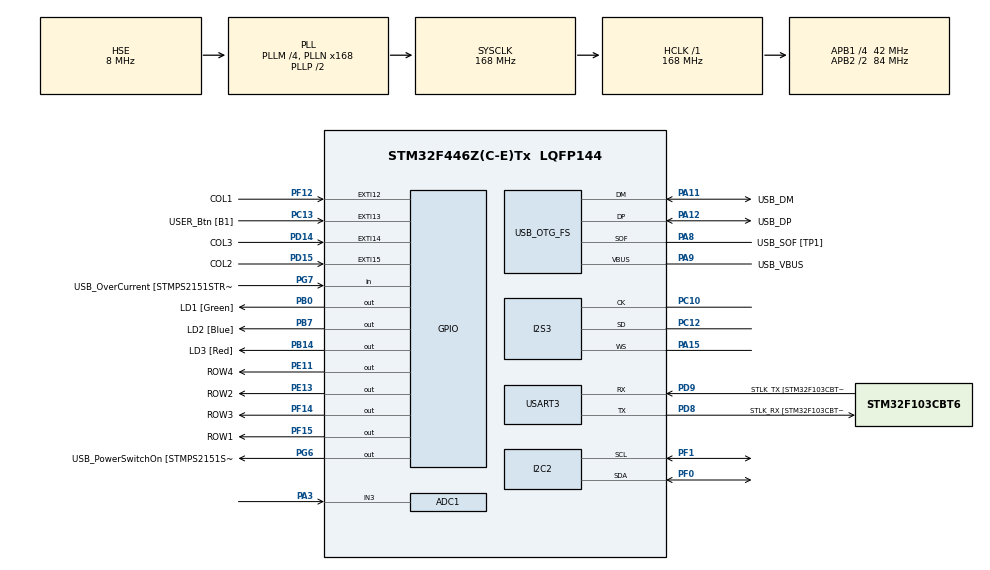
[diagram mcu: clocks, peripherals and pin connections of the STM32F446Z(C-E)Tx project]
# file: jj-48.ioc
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ADC1.Channel-4\#ChannelRegularConversion=ADC_CHANNEL_3
ADC1.NbrOfConversionFlag=1
ADC1.Rank-4\#ChannelRegularConversion=1
ADC1.SamplingTime-4\#ChannelRegularConversion=ADC_SAMPLETIME_3CYCLES
ADC1.master=1
Dma.Request0=SPI3_TX
Dma.SPI3_TX.0.Direction=DMA_MEMORY_TO_PERIPH
Dma.SPI3_TX.0.FIFOMode=DMA_FIFOMODE_DISABLE
Dma.SPI3_TX.0.Instance=DMA1_Stream5
Dma.SPI3_TX.0.MemDataAlignment=DMA_MDATAALIGN_HALFWORD
Dma.SPI3_TX.0.MemInc=DMA_MINC_ENABLE
Dma.SPI3_TX.0.Mode=DMA_CIRCULAR
Dma.SPI3_TX.0.PeriphDataAlignment=DMA_PDATAALIGN_HALFWORD
Dma.SPI3_TX.0.PeriphInc=DMA_PINC_DISABLE
Dma.SPI3_TX.0.Priority=DMA_PRIORITY_HIGH
I2C2.I2C_Mode=I2C_Fast
I2S3.AudioFreq=I2S_AUDIOFREQ_16K
I2S3.ErrorAudioFreq=0.0 %
I2S3.FullDuplexMode=I2S_FULLDUPLEXMODE_DISABLE
I2S3.Instance=SPI$Index
I2S3.RealAudioFreq=16.0 KHz
I2S3.VirtualMode=I2S_MODE_MASTER
Mcu.Family=STM32F4
Mcu.Name=STM32F446Z(C-E)Tx
Mcu.Package=LQFP144
NVIC.DMA1_Stream5_IRQn=true\:0\:0\:false\:false\:true\:false\:true\:true
NVIC.EXTI15_10_IRQn=true\:0\:0\:false\:false\:true\:true\:true\:true
NVIC.PriorityGroup=NVIC_PRIORITYGROUP_4
NVIC.TIM6_DAC_IRQn=true\:0\:0\:false\:false\:true\:true\:true\:true
PA10.GPIO_Label=USB_ID
PA10.Signal=USB_OTG_FS_ID
PA11.GPIO_Label=USB_DM
PA11.Mode=Device_Only
PA11.Signal=USB_OTG_FS_DM
PA12.GPIO_Label=USB_DP
PA12.Mode=Device_Only
PA12.Signal=USB_OTG_FS_DP
PA13.GPIO_Label=TMS
PA13.Mode=Serial_Wire
PA13.Signal=SYS_JTMS-SWDIO
PA14.GPIO_Label=TCK
PA14.Mode=Serial_Wire
PA14.Signal=SYS_JTCK-SWCLK
PA15.Mode=Half_Duplex_Master
PA15.Signal=I2S3_WS
PA3.Signal=ADCx_IN3
PA8.GPIO_Label=USB_SOF [TP1]
PA8.Mode=Activate_SOF_FS
PA8.Signal=USB_OTG_FS_SOF
PA9.GPIO_Label=USB_VBUS
PA9.Mode=Activate_VBUS
PA9.Signal=USB_OTG_FS_VBUS
PB0.GPIO_Label=LD1 [Green]
PB0.Signal=GPIO_Output
PB14.GPIO_Label=LD3 [Red]
PB14.Signal=GPIO_Output
PB7.GPIO_Label=LD2 [Blue]
PB7.Signal=GPIO_Output
PC10.Mode=Half_Duplex_Master
PC10.Signal=I2S3_CK
PC12.Mode=Half_Duplex_Master
PC12.Signal=I2S3_SD
PC13.GPIO_Label=USER_Btn [B1]
PC13.Signal=GPXTI13
PC14-OSC32_IN.Mode=LSE-External-Oscillator
PC14-OSC32_IN.Signal=RCC_OSC32_IN
PC15-OSC32_OUT.Mode=LSE-External-Oscillator
PC15-OSC32_OUT.Signal=RCC_OSC32_OUT
PD14.GPIO_Label=COL3
PD14.GPIO_PuPd=GPIO_PULLDOWN
PD14.Signal=GPXTI14
PD15.GPIO_Label=COL2
PD15.GPIO_PuPd=GPIO_PULLDOWN
PD15.Signal=GPXTI15
PD8.GPIO_Label=STLK_RX [STM32F103CBT6_PA3]
PD8.Mode=Asynchronous
PD8.Signal=USART3_TX
PD9.GPIO_Label=STLK_TX [STM32F103CBT6_PA2]
PD9.Mode=Asynchronous
PD9.Signal=USART3_RX
PE11.GPIO_Label=ROW4
PE11.Signal=GPIO_Output
PE13.GPIO_Label=ROW2
PE13.Signal=GPIO_Output
PF0.Mode=I2C
PF0.Signal=I2C2_SDA
PF1.Mode=I2C
PF1.Signal=I2C2_SCL
PF12.GPIO_Label=COL1
PF12.GPIO_PuPd=GPIO_PULLDOWN
PF12.Signal=GPXTI12
PF14.GPIO_Label=ROW3
PF14.Signal=GPIO_Output
PF15.GPIO_Label=ROW1
PF15.Signal=GPIO_Output
PG6.GPIO_Label=USB_PowerSwitchOn [STMPS2151STR_EN]
PG6.Signal=GPIO_Output
PG7.GPIO_Label=USB_OverCurrent [STMPS2151STR_FAULT]
PG7.Signal=GPIO_Input
PH0-OSC_IN.GPIO_Label=MCO [STM32F103CBT6_PA8]
PH0-OSC_IN.Mode=HSE-External-Clock-Source
PH0-OSC_IN.Signal=RCC_OSC_IN
PH1-OSC_OUT.Mode=HSE-External-Clock-Source
PH1-OSC_OUT.Signal=RCC_OSC_OUT
ProjectManager.HeapSize=0x200
ProjectManager.StackSize=0x400
ProjectManager.TargetToolchain=STM32CubeIDE
RCC.48MHZClocksFreq_Value=24000000
RCC.AHBFreq_Value=168000000
RCC.APB1CLKDivider=RCC_HCLK_DIV4
RCC.APB1Freq_Value=42000000
RCC.APB1TimFreq_Value=84000000
RCC.APB2CLKDivider=RCC_HCLK_DIV2
RCC.APB2Freq_Value=84000000
RCC.APB2TimFreq_Value=168000000
RCC.CortexFreq_Value=168000000
RCC.HCLKFreq_Value=168000000
RCC.HSE_VALUE=8000000
RCC.HSI_VALUE=16000000
RCC.PLLI2SM=4
RCC.PLLM=4
RCC.PLLMUL=RCC_PLL_MUL9
RCC.PLLN=168
RCC.PLLQ=7
RCC.PRESCALERUSB=RCC_USBCLKSOURCE_PLL_DIV1_5
RCC.SYSCLKFreq_VALUE=168000000
RCC.SYSCLKSource=RCC_SYSCLKSOURCE_PLLCLK
RCC.SYSCLKSourceVirtual=RCC_SYSCLKSOURCE_PLLCLK
RCC.USBFreq_Value=48000000
RCC.VCOOutputFreq_Value=336000000
SH.ADCx_IN3.0=ADC1_IN3,IN3
USART3.VirtualMode=VM_ASYNC
USB_OTG_FS.VirtualMode=Device_Only
VP_TIM6_VS_ClockSourceINT.Mode=Enable_Timer
board=NUCLEO-F446ZE

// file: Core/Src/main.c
/* USER CODE BEGIN Header */
/**
  ******************************************************************************
  * @file           : main.c
  * @brief          : Main program body
  ******************************************************************************
  * @attention
  *
  * Copyright (c) 2026 STMicroelectronics.
  * All rights reserved.
  *
  * This software is licensed under terms that can be found in the LICENSE file
  * in the root directory of this software component.
  * If no LICENSE file comes with this software, it is provided AS-IS.
  *
  ******************************************************************************
  */
/* USER CODE END Header */
#include "main.h"

/* USER CODE BEGIN Includes */
#include <string.h>
#include <stdbool.h>
#include "drum_synth.h"
#include "bpm_control.h"
#include "sequencer.h"
#include "ssd1306.h"
#include "flash_storage.h"
/* USER CODE END Includes */

ADC_HandleTypeDef hadc1;

I2C_HandleTypeDef hi2c2;

I2S_HandleTypeDef hi2s3;
DMA_HandleTypeDef hdma_spi3_tx;

TIM_HandleTypeDef htim6;

UART_HandleTypeDef huart3;

PCD_HandleTypeDef hpcd_USB_OTG_FS;

/* USER CODE BEGIN PV */
#define AUDIO_SAMPLE_RATE_HZ   16000U
#define AUDIO_FRAMES_PER_BUF   512U  /* stereo frames; must be even */
uint16_t i2s_audio_buf[AUDIO_FRAMES_PER_BUF * 2U]; /* L,R interleaved for Philips I2S */
/* USER CODE END PV */

void SystemClock_Config(void);
static void MX_GPIO_Init(void);
static void MX_DMA_Init(void);
static void MX_USART3_UART_Init(void);
static void MX_USB_OTG_FS_PCD_Init(void);
static void MX_TIM6_Init(void);
static void MX_I2S3_Init(void);
static void MX_ADC1_Init(void);
static void MX_I2C2_Init(void);

/* USER CODE BEGIN 0 */
int8_t current_col = -1;
int8_t user_button_pressed = -1;
char key_pressed = '\0';
char keypad[4][3] = {
    {'1','2','3'},
    {'4','5','6'},
    {'7','8','9'},
    {'*','0','#'}
};

uint8_t cursor_row = 0, cursor_col = 0;

GPIO_TypeDef* keypad_row_ports[4] = {ROW1_GPIO_Port, ROW2_GPIO_Port, ROW3_GPIO_Port, ROW4_GPIO_Port};
uint16_t keypad_row_pins[4] = {ROW1_Pin, ROW2_Pin, ROW3_Pin, ROW4_Pin};
GPIO_TypeDef* keypad_col_ports[3] = {COL1_GPIO_Port, COL2_GPIO_Port, COL3_GPIO_Port};
uint16_t keypad_col_pins[3] = {COL1_Pin, COL2_Pin, COL3_Pin};

void reset_pattern(void) {
	for (uint32_t i = 0; i < DRUM_COUNT; i++) {
		for (uint32_t j = 0; j < SEQUENCER_NUM_STEPS; j++) {
			pattern[i][j] = NOTE_OFF;
		}
	}
}

void grid_update(char key) {
	switch (key) {
		case '4':
			if (cursor_col > 0) cursor_col--;
			break;
		case '6':
			if (cursor_col < GRID_COLS - 1) cursor_col++;
			break;
		case '2':
			if (cursor_row > 0) cursor_row--;
			break;
		case '8':
			if (cursor_row < GRID_ROWS - 1) cursor_row++;
			break;
		case '*': // reset pattern to default
			__disable_irq();  // Disble interrupts to prevent race condition
			reset_pattern();
			__enable_irq();
			break;
		case '5':
			__disable_irq();  // Disble interrupts to prevent race condition
			pattern[cursor_row][cursor_col] ^= 1U;
			__enable_irq();
			break;
		default:
			break;
	}
}

void oled_update(void) {
	uint8_t step = current_step;
	uint8_t disp[GRID_ROWS][GRID_COLS];

	for (uint8_t r = 0; r < GRID_ROWS; r++) {
		for (uint8_t c = 0; c < GRID_COLS; c++) {
			if (r == cursor_row && c == cursor_col)
				disp[r][c] = NOTE_SELECT;
			else if (pattern[r][c])
				disp[r][c] = NOTE_ON;
			else if (c == step)
				disp[r][c] = NOTE_PLAY;
			else
				disp[r][c] = NOTE_OFF;
		}
	}

	SSD1306_Fill(SSD1306_COLOR_BLACK);
	SSD1306_Put_8x4Grid(disp, &Font_7x10);
	SSD1306_UpdateScreen();
}

void scan_keypad(void) {
	for (uint8_t row = 0; row < 4; row++) {
		HAL_GPIO_WritePin(keypad_row_ports[row], keypad_row_pins[row], GPIO_PIN_SET);
		if (current_col != -1) {
			key_pressed = keypad[row][current_col];
			grid_update(key_pressed);
			current_col = -1;
		}
		HAL_GPIO_WritePin(keypad_row_ports[row], keypad_row_pins[row], GPIO_PIN_RESET);
		HAL_Delay(10);
	}
}

void oled_init(void) {
	if (SSD1306_Init() != HAL_OK) {
		HAL_GPIO_WritePin(LD3_GPIO_Port, LD3_Pin, GPIO_PIN_SET);
		while(1);
	}
	HAL_GPIO_WritePin(LD1_GPIO_Port, LD1_Pin, GPIO_PIN_SET);
}

static void i2s_dma_restart_prefill(void)
{
	for (uint32_t i = 0U; i < AUDIO_FRAMES_PER_BUF; i++) {
		uint16_t s = (uint16_t)DrumSynth_GetNextSample();
		i2s_audio_buf[i * 2U] = s;
		i2s_audio_buf[i * 2U + 1U] = s;
	}
	(void)HAL_I2S_Transmit_DMA(&hi2s3, i2s_audio_buf, AUDIO_FRAMES_PER_BUF * 2U);
}

// writes sequence data to sector 7 (flash ADDR: 0x08060000)
// this sector safe as is far beyond where program code is stored
HAL_StatusTypeDef write_data_to_flash(void) {
	HAL_StatusTypeDef ret = HAL_OK;
	SaveFlashData data = {0};
	for (int i = 0; i < DRUM_COUNT; i++) {
		for (int j = 0; j < SEQUENCER_NUM_STEPS; j++) {
			data.pattern[i][j] = pattern[i][j];
		}
	}
	data.valid = 0xDEADBEEF; // valid pattern

	(void)HAL_I2S_DMAStop(&hi2s3);

	ret = flash_erase_sector_7();
	if (ret == HAL_OK) {
		ret = flash_write_bytes(
			FLASH_USER_START_ADDR,
			(uint32_t *)&data,
			sizeof(SaveFlashData) / 4U
		);
	}

	i2s_dma_restart_prefill();
	return ret;
}

/* USER CODE END 0 */

int main(void)
{

  /* MCU Configuration--------------------------------------------------------*/

  /* Reset of all peripherals, Initializes the Flash interface and the Systick. */
  HAL_Init();

  /* Configure the system clock */
  SystemClock_Config();

  /* Initialize all configured peripherals */
  MX_GPIO_Init();
  MX_DMA_Init();
  MX_USART3_UART_Init();
  MX_USB_OTG_FS_PCD_Init();
  MX_TIM6_Init();
  MX_I2S3_Init();
  MX_ADC1_Init();
  MX_I2C2_Init();
  /* USER CODE BEGIN 2 */
  oled_init();
  DrumSynth_Init();
  for (uint32_t i = 0U; i < AUDIO_FRAMES_PER_BUF; i++) {
    uint16_t s = (uint16_t)DrumSynth_GetNextSample();
    i2s_audio_buf[i * 2U]      = s;
    i2s_audio_buf[i * 2U + 1U] = s;
  }
  (void)HAL_I2S_Transmit_DMA(&hi2s3, i2s_audio_buf, AUDIO_FRAMES_PER_BUF * 2U);
  BpmControl_Init(&htim6, &hadc1);
  Sequencer_Init();
  BpmControl_ApplyBpm(BPM_DEFAULT);
  (void)HAL_TIM_Base_Start_IT(&htim6);

  // Load saved sequence from flash
  SaveFlashData saved_sequence;
  if (flash_read_data(&saved_sequence) == HAL_OK) {
		for (uint32_t i = 0; i < DRUM_COUNT; i++) {
			for (uint32_t j = 0; j < SEQUENCER_NUM_STEPS; j++) {
				pattern[i][j] = saved_sequence.pattern[i][j];
			}
		}
  } else {
  	// initialize empty pattern
  	reset_pattern();
  }

  /* USER CODE END 2 */

  /* Infinite loop */
  /* USER CODE BEGIN WHILE */
  while (1)
  {
  	scan_keypad();
    BpmControl_Poll();
    oled_update();

    if (user_button_pressed == 1) {
    	user_button_pressed = -1;
    	(void)write_data_to_flash();
    }
    /* USER CODE END WHILE */

  }
}

void SystemClock_Config(void)
{
  RCC_OscInitTypeDef RCC_OscInitStruct = {0};
  RCC_ClkInitTypeDef RCC_ClkInitStruct = {0};

  /** Configure the main internal regulator output voltage
  */
  __HAL_RCC_PWR_CLK_ENABLE();
  __HAL_PWR_VOLTAGESCALING_CONFIG(PWR_REGULATOR_VOLTAGE_SCALE1);

  /** Initializes the RCC Oscillators according to the specified parameters
  * in the RCC_OscInitTypeDef structure.
  */
  RCC_OscInitStruct.OscillatorType = RCC_OSCILLATORTYPE_HSE;
  RCC_OscInitStruct.HSEState = RCC_HSE_BYPASS;
  RCC_OscInitStruct.PLL.PLLState = RCC_PLL_ON;
  RCC_OscInitStruct.PLL.PLLSource = RCC_PLLSOURCE_HSE;
  RCC_OscInitStruct.PLL.PLLM = 4;
  RCC_OscInitStruct.PLL.PLLN = 168;
  RCC_OscInitStruct.PLL.PLLP = RCC_PLLP_DIV2;
  RCC_OscInitStruct.PLL.PLLQ = 7;
  RCC_OscInitStruct.PLL.PLLR = 2;
  if (HAL_RCC_OscConfig(&RCC_OscInitStruct) != HAL_OK)
  {
    Error_Handler();
  }

  /** Initializes the CPU, AHB and APB buses clocks
  */
  RCC_ClkInitStruct.ClockType = RCC_CLOCKTYPE_HCLK|RCC_CLOCKTYPE_SYSCLK
                              |RCC_CLOCKTYPE_PCLK1|RCC_CLOCKTYPE_PCLK2;
  RCC_ClkInitStruct.SYSCLKSource = RCC_SYSCLKSOURCE_PLLCLK;
  RCC_ClkInitStruct.AHBCLKDivider = RCC_SYSCLK_DIV1;
  RCC_ClkInitStruct.APB1CLKDivider = RCC_HCLK_DIV4;
  RCC_ClkInitStruct.APB2CLKDivider = RCC_HCLK_DIV2;

  if (HAL_RCC_ClockConfig(&RCC_ClkInitStruct, FLASH_LATENCY_5) != HAL_OK)
  {
    Error_Handler();
  }
}

static void MX_ADC1_Init(void)
{

  ADC_ChannelConfTypeDef sConfig = {0};

  /** Configure the global features of the ADC (Clock, Resolution, Data Alignment and number of conversion)
  */
  hadc1.Instance = ADC1;
  hadc1.Init.ClockPrescaler = ADC_CLOCK_SYNC_PCLK_DIV4;
  hadc1.Init.Resolution = ADC_RESOLUTION_12B;
  hadc1.Init.ScanConvMode = DISABLE;
  hadc1.Init.ContinuousConvMode = DISABLE;
  hadc1.Init.DiscontinuousConvMode = DISABLE;
  hadc1.Init.ExternalTrigConvEdge = ADC_EXTERNALTRIGCONVEDGE_NONE;
  hadc1.Init.ExternalTrigConv = ADC_SOFTWARE_START;
  hadc1.Init.DataAlign = ADC_DATAALIGN_RIGHT;
  hadc1.Init.NbrOfConversion = 1;
  hadc1.Init.DMAContinuousRequests = DISABLE;
  hadc1.Init.EOCSelection = ADC_EOC_SINGLE_CONV;
  if (HAL_ADC_Init(&hadc1) != HAL_OK)
  {
    Error_Handler();
  }

  /** Configure for the selected ADC regular channel its corresponding rank in the sequencer and its sample time.
  */
  sConfig.Channel = ADC_CHANNEL_3;
  sConfig.Rank = 1;
  sConfig.SamplingTime = ADC_SAMPLETIME_3CYCLES;
  if (HAL_ADC_ConfigChannel(&hadc1, &sConfig) != HAL_OK)
  {
    Error_Handler();
  }

}

static void MX_I2C2_Init(void)
{

  hi2c2.Instance = I2C2;
  hi2c2.Init.ClockSpeed = 400000;
  hi2c2.Init.DutyCycle = I2C_DUTYCYCLE_2;
  hi2c2.Init.OwnAddress1 = 0;
  hi2c2.Init.AddressingMode = I2C_ADDRESSINGMODE_7BIT;
  hi2c2.Init.DualAddressMode = I2C_DUALADDRESS_DISABLE;
  hi2c2.Init.OwnAddress2 = 0;
  hi2c2.Init.GeneralCallMode = I2C_GENERALCALL_DISABLE;
  hi2c2.Init.NoStretchMode = I2C_NOSTRETCH_DISABLE;
  if (HAL_I2C_Init(&hi2c2) != HAL_OK)
  {
    Error_Handler();
  }

}

static void MX_I2S3_Init(void)
{

  hi2s3.Instance = SPI3;
  hi2s3.Init.Mode = I2S_MODE_MASTER_TX;
  hi2s3.Init.Standard = I2S_STANDARD_PHILIPS;
  hi2s3.Init.DataFormat = I2S_DATAFORMAT_16B;
  hi2s3.Init.MCLKOutput = I2S_MCLKOUTPUT_DISABLE;
  hi2s3.Init.AudioFreq = I2S_AUDIOFREQ_16K;
  hi2s3.Init.CPOL = I2S_CPOL_LOW;
  hi2s3.Init.ClockSource = I2S_CLOCK_PLL;
  hi2s3.Init.FullDuplexMode = I2S_FULLDUPLEXMODE_DISABLE;
  if (HAL_I2S_Init(&hi2s3) != HAL_OK)
  {
    Error_Handler();
  }

}

static void MX_TIM6_Init(void)
{

  TIM_MasterConfigTypeDef sMasterConfig = {0};

  htim6.Instance = TIM6;
  /* 84 MHz TIM6 clock / (PSC+1) = 10 kHz; ARR scaled by BpmControl_ApplyBpm() / bpm_control.h */
  htim6.Init.Prescaler = TIM6_PSC_FOR_10KHZ;
  htim6.Init.CounterMode = TIM_COUNTERMODE_UP;
  htim6.Init.Period = TIM6_ARR_FOR_BPM(BPM_DEFAULT);
  htim6.Init.AutoReloadPreload = TIM_AUTORELOAD_PRELOAD_DISABLE;
  if (HAL_TIM_Base_Init(&htim6) != HAL_OK)
  {
    Error_Handler();
  }
  sMasterConfig.MasterOutputTrigger = TIM_TRGO_RESET;
  sMasterConfig.MasterSlaveMode = TIM_MASTERSLAVEMODE_DISABLE;
  if (HAL_TIMEx_MasterConfigSynchronization(&htim6, &sMasterConfig) != HAL_OK)
  {
    Error_Handler();
  }

}

static void MX_USART3_UART_Init(void)
{

  huart3.Instance = USART3;
  huart3.Init.BaudRate = 115200;
  huart3.Init.WordLength = UART_WORDLENGTH_8B;
  huart3.Init.StopBits = UART_STOPBITS_1;
  huart3.Init.Parity = UART_PARITY_NONE;
  huart3.Init.Mode = UART_MODE_TX_RX;
  huart3.Init.HwFlowCtl = UART_HWCONTROL_NONE;
  huart3.Init.OverSampling = UART_OVERSAMPLING_16;
  if (HAL_UART_Init(&huart3) != HAL_OK)
  {
    Error_Handler();
  }

}

static void MX_USB_OTG_FS_PCD_Init(void)
{

  hpcd_USB_OTG_FS.Instance = USB_OTG_FS;
  hpcd_USB_OTG_FS.Init.dev_endpoints = 6;
  hpcd_USB_OTG_FS.Init.speed = PCD_SPEED_FULL;
  hpcd_USB_OTG_FS.Init.dma_enable = DISABLE;
  hpcd_USB_OTG_FS.Init.phy_itface = PCD_PHY_EMBEDDED;
  hpcd_USB_OTG_FS.Init.Sof_enable = ENABLE;
  hpcd_USB_OTG_FS.Init.low_power_enable = DISABLE;
  hpcd_USB_OTG_FS.Init.lpm_enable = DISABLE;
  hpcd_USB_OTG_FS.Init.vbus_sensing_enable = ENABLE;
  hpcd_USB_OTG_FS.Init.use_dedicated_ep1 = DISABLE;
  if (HAL_PCD_Init(&hpcd_USB_OTG_FS) != HAL_OK)
  {
    Error_Handler();
  }

}

static void MX_DMA_Init(void)
{

  /* DMA controller clock enable */
  __HAL_RCC_DMA1_CLK_ENABLE();

  /* DMA interrupt init */
  /* DMA1_Stream5_IRQn interrupt configuration */
  HAL_NVIC_SetPriority(DMA1_Stream5_IRQn, 0, 0);
  HAL_NVIC_EnableIRQ(DMA1_Stream5_IRQn);

}

static void MX_GPIO_Init(void)
{
  GPIO_InitTypeDef GPIO_InitStruct = {0};

  /* GPIO Ports Clock Enable */
  __HAL_RCC_GPIOC_CLK_ENABLE();
  __HAL_RCC_GPIOF_CLK_ENABLE();
  __HAL_RCC_GPIOH_CLK_ENABLE();
  __HAL_RCC_GPIOA_CLK_ENABLE();
  __HAL_RCC_GPIOB_CLK_ENABLE();
  __HAL_RCC_GPIOE_CLK_ENABLE();
  __HAL_RCC_GPIOD_CLK_ENABLE();
  __HAL_RCC_GPIOG_CLK_ENABLE();

  /*Configure GPIO pin Output Level */
  HAL_GPIO_WritePin(GPIOB, LD1_Pin|LD3_Pin|LD2_Pin, GPIO_PIN_RESET);

  /*Configure GPIO pin Output Level */
  HAL_GPIO_WritePin(GPIOF, ROW3_Pin|ROW1_Pin, GPIO_PIN_RESET);

  /*Configure GPIO pin Output Level */
  HAL_GPIO_WritePin(GPIOE, ROW4_Pin|ROW2_Pin, GPIO_PIN_RESET);

  /*Configure GPIO pin Output Level */
  HAL_GPIO_WritePin(USB_PowerSwitchOn_GPIO_Port, USB_PowerSwitchOn_Pin, GPIO_PIN_RESET);

  /*Configure GPIO pin : USER_Btn_Pin */
  GPIO_InitStruct.Pin = USER_Btn_Pin;
  GPIO_InitStruct.Mode = GPIO_MODE_IT_RISING;
  GPIO_InitStruct.Pull = GPIO_NOPULL;
  HAL_GPIO_Init(USER_Btn_GPIO_Port, &GPIO_InitStruct);

  /*Configure GPIO pins : LD1_Pin LD3_Pin LD2_Pin */
  GPIO_InitStruct.Pin = LD1_Pin|LD3_Pin|LD2_Pin;
  GPIO_InitStruct.Mode = GPIO_MODE_OUTPUT_PP;
  GPIO_InitStruct.Pull = GPIO_NOPULL;
  GPIO_InitStruct.Speed = GPIO_SPEED_FREQ_LOW;
  HAL_GPIO_Init(GPIOB, &GPIO_InitStruct);

  /*Configure GPIO pin : COL1_Pin */
  GPIO_InitStruct.Pin = COL1_Pin;
  GPIO_InitStruct.Mode = GPIO_MODE_IT_RISING;
  GPIO_InitStruct.Pull = GPIO_PULLDOWN;
  HAL_GPIO_Init(COL1_GPIO_Port, &GPIO_InitStruct);

  /*Configure GPIO pins : ROW3_Pin ROW1_Pin */
  GPIO_InitStruct.Pin = ROW3_Pin|ROW1_Pin;
  GPIO_InitStruct.Mode = GPIO_MODE_OUTPUT_PP;
  GPIO_InitStruct.Pull = GPIO_NOPULL;
  GPIO_InitStruct.Speed = GPIO_SPEED_FREQ_LOW;
  HAL_GPIO_Init(GPIOF, &GPIO_InitStruct);

  /*Configure GPIO pins : ROW4_Pin ROW2_Pin */
  GPIO_InitStruct.Pin = ROW4_Pin|ROW2_Pin;
  GPIO_InitStruct.Mode = GPIO_MODE_OUTPUT_PP;
  GPIO_InitStruct.Pull = GPIO_NOPULL;
  GPIO_InitStruct.Speed = GPIO_SPEED_FREQ_LOW;
  HAL_GPIO_Init(GPIOE, &GPIO_InitStruct);

  /*Configure GPIO pins : COL3_Pin COL2_Pin */
  GPIO_InitStruct.Pin = COL3_Pin|COL2_Pin;
  GPIO_InitStruct.Mode = GPIO_MODE_IT_RISING;
  GPIO_InitStruct.Pull = GPIO_PULLDOWN;
  HAL_GPIO_Init(GPIOD, &GPIO_InitStruct);

  /*Configure GPIO pin : USB_PowerSwitchOn_Pin */
  GPIO_InitStruct.Pin = USB_PowerSwitchOn_Pin;
  GPIO_InitStruct.Mode = GPIO_MODE_OUTPUT_PP;
  GPIO_InitStruct.Pull = GPIO_NOPULL;
  GPIO_InitStruct.Speed = GPIO_SPEED_FREQ_LOW;
  HAL_GPIO_Init(USB_PowerSwitchOn_GPIO_Port, &GPIO_InitStruct);

  /*Configure GPIO pin : USB_OverCurrent_Pin */
  GPIO_InitStruct.Pin = USB_OverCurrent_Pin;
  GPIO_InitStruct.Mode = GPIO_MODE_INPUT;
  GPIO_InitStruct.Pull = GPIO_NOPULL;
  HAL_GPIO_Init(USB_OverCurrent_GPIO_Port, &GPIO_InitStruct);

  /* Below I2S DMA (0) so column IRQs do not defer audio. */
  HAL_NVIC_SetPriority(EXTI15_10_IRQn, 2, 0);
  HAL_NVIC_EnableIRQ(EXTI15_10_IRQn);

}

/* USER CODE BEGIN 4 */
static void Fill_I2S_Frames(uint32_t start_frame, uint32_t frame_count)
{
  for (uint32_t i = 0U; i < frame_count; i++) {
    uint16_t s = (uint16_t)DrumSynth_GetNextSample();
    uint32_t base = (start_frame + i) * 2U;
    i2s_audio_buf[base]      = s;
    i2s_audio_buf[base + 1U] = s;
  }
}

void HAL_I2S_TxHalfCpltCallback(I2S_HandleTypeDef *hi2s)
{
  if (hi2s->Instance == SPI3) {
    Fill_I2S_Frames(0U, AUDIO_FRAMES_PER_BUF / 2U);
  }
}

void HAL_I2S_TxCpltCallback(I2S_HandleTypeDef *hi2s)
{
  if (hi2s->Instance == SPI3) {
    Fill_I2S_Frames(AUDIO_FRAMES_PER_BUF / 2U, AUDIO_FRAMES_PER_BUF / 2U);
  }
}
/* USER CODE END 4 */

void Error_Handler(void)
{
  __disable_irq();
  while (1)
  {
  }
}
